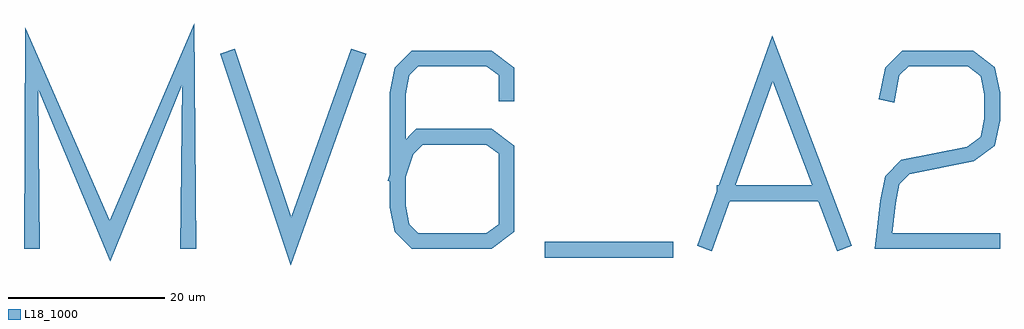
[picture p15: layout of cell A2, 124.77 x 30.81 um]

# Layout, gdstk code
import gdstk
lib = gdstk.Library(unit=1e-6, precision=1e-09)
L18_1000 = (18, 1000)

c_a2 = lib.new_cell('A2')
c_a2.add(gdstk.FlexPath([(-480.012,-306.995),(-480.012,-283.662),(-470.012,-306.995),(-460.012,-283.107),(-460.012,-306.995)], 2, ends="extended", simple_path=True, layer=18, datatype=1000))  # L18_1000
c_a2.add(gdstk.FlexPath([(-454.679,-283.662),(-446.902,-306.995),(-438.568,-283.662)], 2, ends="extended", simple_path=True, layer=18, datatype=1000))  # L18_1000
c_a2.add(gdstk.FlexPath([(-419.347,-288.107),(-419.347,-285.329),(-421.569,-283.662),(-431.013,-283.662),(-432.68,-285.329),(-433.235,-288.107),(-433.235,-302.551),(-432.68,-305.329),(-431.013,-306.995),(-421.569,-306.995),(-419.347,-305.329),(-419.347,-295.329),(-421.569,-293.662),(-430.458,-293.662),(-432.124,-295.329),(-433.235,-298.662)], 2, ends="extended", simple_path=True, layer=18, datatype=1000))  # L18_1000
c_a2.add(gdstk.FlexPath([(-413.458,-308.106),(-399.014,-308.106)], 2, ends="extended", simple_path=True, layer=18, datatype=1000))  # L18_1000
c_a2.add(gdstk.FlexPath([(-393.681,-306.995),(-385.348,-283.662),(-376.459,-306.995)], 2, ends="extended", simple_path=True, layer=18, datatype=1000))  # L18_1000
c_a2.add(gdstk.FlexPath([(-379.237,-300.884),(-391.459,-300.884)], 2, ends="extended", simple_path=True, layer=18, datatype=1000))  # L18_1000
c_a2.add(gdstk.FlexPath([(-370.571,-288.107),(-370.015,-285.329),(-368.349,-283.662),(-360.015,-283.662),(-357.793,-285.329),(-357.238,-288.107),(-357.238,-291.44),(-357.793,-294.218),(-360.015,-295.884),(-368.349,-297.551),(-370.015,-299.218),(-370.571,-301.995),(-371.126,-306.995),(-357.238,-306.995)], 2, ends="extended", simple_path=True, layer=18, datatype=1000))  # L18_1000

lib.write_gds('A2.gds')
